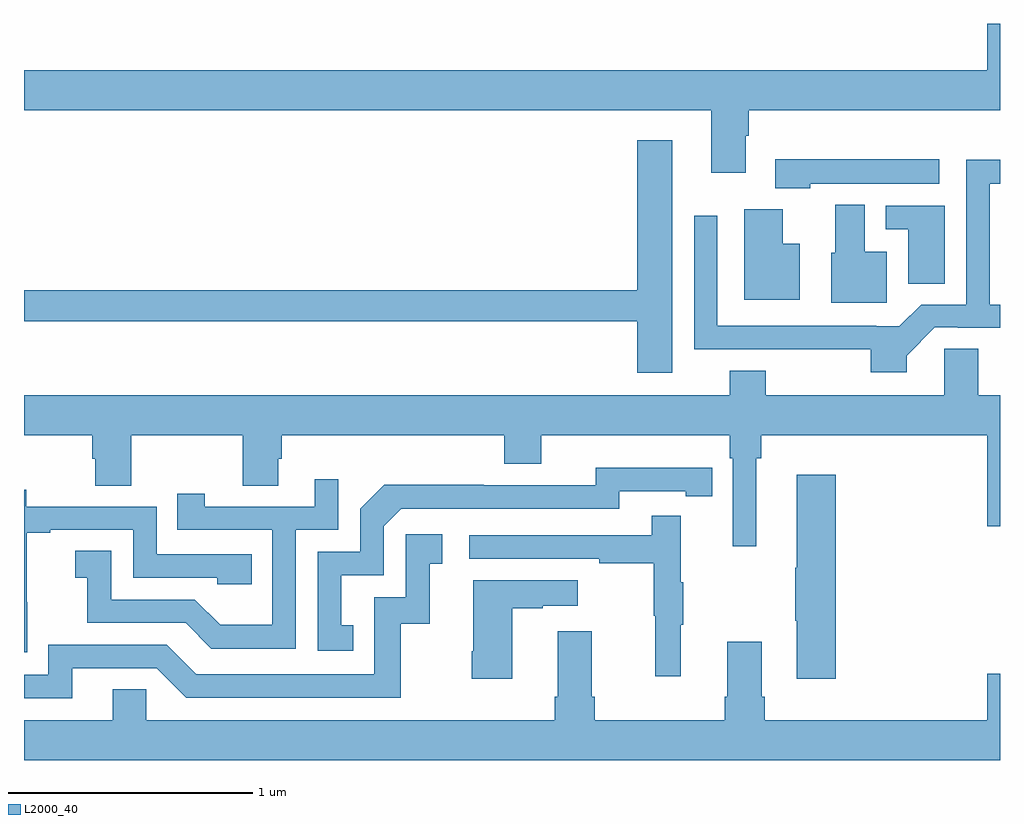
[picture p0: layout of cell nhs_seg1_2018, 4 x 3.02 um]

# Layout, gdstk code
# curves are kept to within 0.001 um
import gdstk
lib = gdstk.Library(unit=1e-6, precision=1e-09)
def P(c, l, *ps):  # polygons
    for p in ps: c.add(gdstk.Polygon(p, *l))
L2000_40 = (2000, 40)

nhs_seg1_2018 = lib.new_cell('nhs_seg1_2018')
P(nhs_seg1_2018, L2000_40, [(223.957,531.646),(223.97,531.646),(223.97,531.752),(225,531.752),(225,532.105),(224.948,532.105),(224.948,531.916),(221,531.916),(221,531.752),(223.817,531.752),(223.817,531.495),(223.957,531.495)],
  [(223.657,531.628),(223.514,531.628),(223.514,531.014),(221,531.014),(221,530.886),(223.514,530.886),(223.514,530.676),(223.657,530.676)],
  [(224.223,531.449),(224.752,531.449),(224.752,531.55),(224.079,531.55),(224.079,531.431),(224.223,531.431)],
  [(224.617,530.746),(224.733,530.862),(224.827,530.862),(224.827,530.859),(225,530.859),(225,530.955),(224.958,530.955),(224.958,531.45),(225,531.45),(225,531.548),(224.862,531.548),(224.862,530.955),(224.678,530.955),(224.588,530.865),(224.492,530.865),(224.492,530.868),(223.843,530.868),(223.842,531.319),(223.746,531.319),(223.746,530.772),(224.47,530.771),(224.47,530.678),(224.617,530.678)],
  [(224.536,531.172),(224.446,531.172),(224.446,531.364),(224.324,531.364),(224.324,531.168),(224.309,531.168),(224.309,530.963),(224.536,530.963)],
  [(224.773,531.36),(224.531,531.36),(224.531,531.264),(224.624,531.264),(224.624,531.04),(224.773,531.04)],
  [(224.179,531.205),(224.11,531.205),(224.11,531.346),(223.952,531.346),(223.952,530.975),(224.179,530.975)],
  [(224.911,530.774),(224.772,530.774),(224.772,530.584),(224.04,530.584),(224.04,530.683),(223.892,530.683),(223.892,530.584),(221,530.584),(221,530.42),(221.279,530.42),(221.279,530.322),(221.291,530.322),(221.291,530.212),(221.439,530.212),(221.439,530.42),(221.896,530.42),(221.896,530.212),(222.043,530.212),(222.043,530.322),(222.056,530.322),(222.056,530.42),(222.968,530.42),(222.968,530.303),(223.12,530.303),(223.12,530.42),(223.892,530.42),(223.892,530.324),(223.905,530.324),(223.905,529.965),(224.002,529.965),(224.002,530.324),(224.021,530.324),(224.021,530.42),(224.948,530.42),(224.948,530.046),(225,530.046),(225,530.584),(224.911,530.584)],
  [(222.35,529.641),(222.301,529.641),(222.301,529.845),(222.474,529.845),(222.474,530.046),(222.546,530.118),(223.44,530.118),(223.44,530.19),(223.712,530.19),(223.712,530.17),(223.82,530.17),(223.82,530.286),(223.344,530.287),(223.344,530.214),(222.884,530.214),(222.884,530.216),(222.476,530.216),(222.378,530.118),(222.378,529.941),(222.204,529.941),(222.204,529.536),(222.35,529.536)],
  [(224.327,530.257),(224.168,530.257),(224.168,529.877),(224.161,529.877),(224.161,529.66),(224.168,529.66),(224.168,529.422),(224.327,529.422)],
  [(222.114,530.031),(222.288,530.031),(222.288,530.239),(222.191,530.239),(222.191,530.127),(221.74,530.127),(221.74,530.179),(221.629,530.179),(221.629,530.031),(222.018,530.031),(222.018,529.642),(221.804,529.642),(221.7,529.746),(221.358,529.746),(221.358,529.945),(221.211,529.945),(221.211,529.835),(221.26,529.835),(221.26,529.65),(221.663,529.65),(221.768,529.545),(222.114,529.545)],
  [(221.013,529.735),(221.012,529.735),(221.012,530.019),(221.107,530.019),(221.107,530.031),(221.448,530.031),(221.448,529.836),(221.793,529.836),(221.793,529.809),(221.933,529.809),(221.933,529.932),(221.544,529.932),(221.544,530.127),(221.01,530.127),(221.01,530.196),(221,530.196),(221,529.529),(221.013,529.529)],
  [(223.691,529.643),(223.702,529.643),(223.702,529.817),(223.691,529.817),(223.691,530.089),(223.573,530.089),(223.573,530.01),(222.825,530.01),(222.825,529.914),(223.357,529.914),(223.357,529.894),(223.581,529.894),(223.581,529.68),(223.588,529.68),(223.588,529.431),(223.691,529.431)],
  [(221.197,529.464),(221.544,529.464),(221.664,529.344),(222.544,529.344),(222.544,529.647),(222.662,529.647),(222.662,529.893),(222.715,529.893),(222.715,530.014),(222.564,530.014),(222.564,529.755),(222.435,529.755),(222.435,529.44),(221.706,529.44),(221.586,529.56),(221.1,529.56),(221.1,529.437),(221,529.437),(221,529.341),(221.197,529.341)],
  [(223,529.711),(223.127,529.711),(223.127,529.721),(223.27,529.721),(223.27,529.825),(222.842,529.825),(222.842,529.534),(222.835,529.534),(222.835,529.422),(223,529.422)],
  [(225,529.441),(224.948,529.441),(224.948,529.252),(224.036,529.252),(224.036,529.348),(224.023,529.348),(224.023,529.573),(223.883,529.573),(223.883,529.348),(223.871,529.348),(223.871,529.252),(223.34,529.252),(223.34,529.348),(223.327,529.348),(223.327,529.615),(223.187,529.615),(223.187,529.348),(223.175,529.348),(223.175,529.252),(221.502,529.252),(221.502,529.379),(221.363,529.379),(221.363,529.252),(221,529.252),(221,529.088),(225,529.088)])

lib.write_gds('nhs_seg1_2018.gds')
